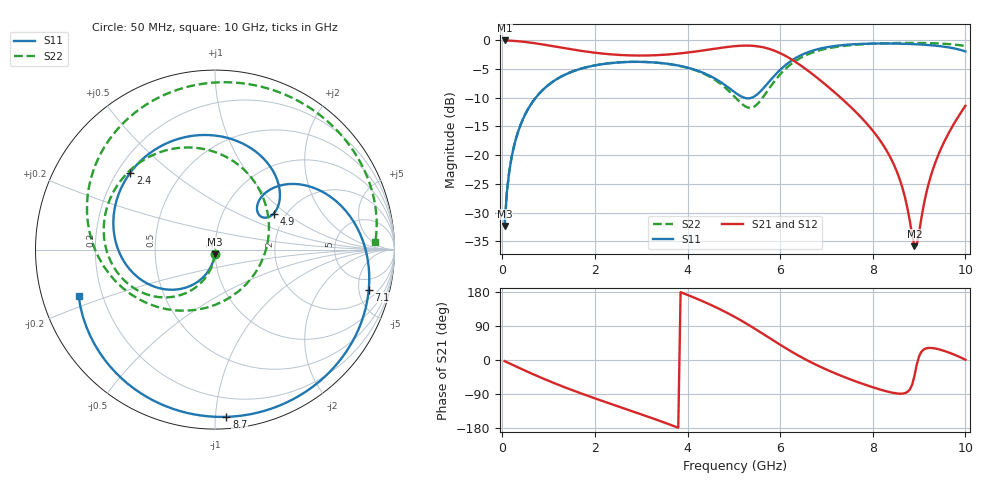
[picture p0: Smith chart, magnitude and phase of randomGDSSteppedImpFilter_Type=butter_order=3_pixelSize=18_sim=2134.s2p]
! freq	dB(S11)	phase(S11)	dB(S12)	phase(S12)
!  dB(S21)	phase(S21)	dB(S22)	phase(S22)
!S-par simulation data
#  GHz  S  DB  R 50
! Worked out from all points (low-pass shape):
!   200 points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, 50 MHz to 10 GHz, reference 50 ohm
!   highest |S21| = -0.01 dB at 50 MHz (marker M1); lowest = -35.9 dB at 8.9 GHz (marker M2)
!   |S21| within 3 dB of the highest: start of sweep to 6.184 GHz
!   lowest |S11| = -32.4 dB at 50 MHz (marker M3), VSWR 1.05, Z = 49.8 - j2.4 ohm
!   |S11| at or under -10 dB: start of sweep to 721.7 MHz; 5.231 GHz to 5.378 GHz (147 MHz wide, 2.77 % of centre)
!   |S22| runs from -32.4 to -0.4 dB; largest |S21 - S12| = 0
!   S11 on the Smith chart (normalised r, x): 50 MHz: 1.00, -0.05; 2.4 GHz: 0.25, +0.37; 4.9 GHz: 1.73, +0.81; 7.1 GHz: 3.09, -6.36; 8.7 GHz: 0.07, -1.07; 10 GHz: 0.11, -0.16
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0.05  -32.36 -93.4  -0.01 -2.9  -0.01 -2.9  -32.35 -92.8
0.1  -26.36 -96.7  -0.02 -5.8  -0.02 -5.8  -26.35 -95.5
0.2  -20.41 -103.2  -0.06 -11.6  -0.06 -11.6  -20.40 -100.9
0.5  -12.81 -121.9  -0.27 -28.5  -0.27 -28.5  -12.80 -116.2
1.1  -7.15 -156.7  -1.01 -60.0  -1.01 -60.0  -7.13 -144.4
1.75  -4.81 169.2  -1.88 -90.4  -1.88 -90.4  -4.80 -171.1
2.4  -3.91 137.7  -2.46 -118.2  -2.46 -118.2  -3.90 164.7
3.4  -3.92 91.0  -2.55 -160.6  -2.55 -160.6  -3.93 127.2
4.2  -5.22 54.5  -1.91 161.7  -1.91 161.7  -5.30 89.8
4.9  -8.32 31.5  -1.10 121.5  -1.10 121.5  -8.88 35.8
5.05  -9.22 31.3  -0.98 111.6  -0.98 111.6  -10.09 16.7
5.45  -9.73 44.2  -0.97 82.8  -0.97 82.8  -11.49 -59.9
5.85  -6.38 46.3  -1.71 51.8  -1.71 51.8  -7.40 -128.8
6.3  -3.24 27.1  -3.58 18.2  -3.58 18.2  -3.75 -176.1
6.7  -1.78 5.9  -5.89 -8.0  -5.89 -8.0  -2.11 153.5
7.1  -1.06 -14.6  -8.52 -30.7  -8.52 -30.7  -1.28 128.9
7.7  -0.62 -42.6  -13.02 -59.4  -13.02 -59.4  -0.71 98.5
8.35  -0.54 -70.8  -19.94 -84.3  -19.94 -84.3  -0.48 70.0
8.7  -0.59 -86.1  -27.51 -87.3  -27.51 -87.3  -0.44 55.6
8.9  -0.66 -95.2  -35.87 -42.0  -35.87 -42.0  -0.44 47.5
9.35  -0.91 -117.6  -21.31 30.3  -21.31 30.3  -0.51 29.3
10  -1.91 -161.1  -11.40 0.7  -11.40 0.7  -0.97 2.8
